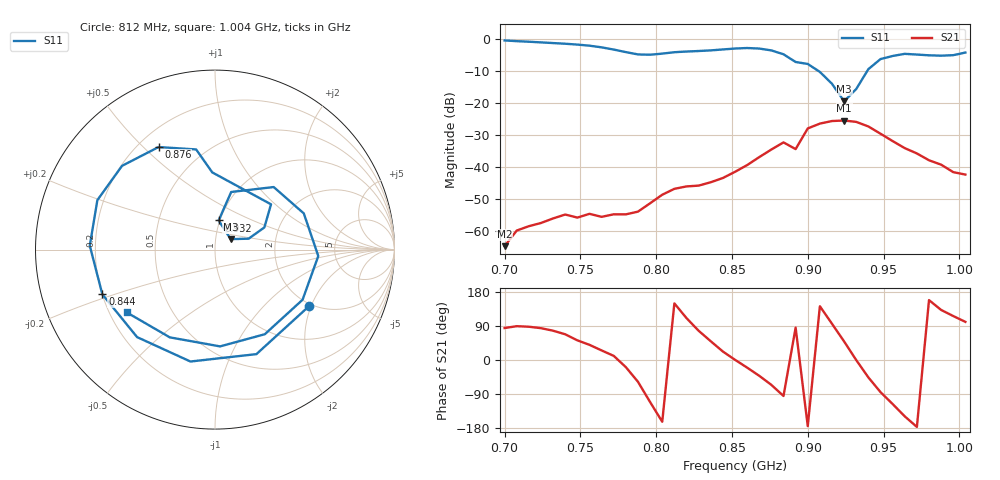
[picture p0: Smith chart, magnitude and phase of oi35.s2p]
# Hz S RI R 50
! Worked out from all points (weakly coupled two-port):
!   39 points, 700 MHz to 1.004 GHz, reference 50 ohm
!   highest |S21| = -25.55 dB at 924 MHz (marker M1); lowest = -64.7 dB at 700 MHz (marker M2)
!   lowest |S11| = -19.6 dB at 924 MHz (marker M3), VSWR 1.23, Z = 59.1 + j6.97 ohm
!   |S11| at or under -10 dB: 906.7 MHz to 939.4 MHz (32.73 MHz wide, 3.55 % of centre)
!   S12 and S22 are empty: the file has one direction only
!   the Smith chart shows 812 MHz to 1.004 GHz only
!   S11 on the Smith chart (normalised r, x): 812 MHz: 1.92, -1.94; 844 MHz: 0.20, -0.18; 876 MHz: 0.28, +0.56; 932 MHz: 0.99, +0.33; 1.004 GHz: 0.27, -0.30
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7e8  0.7665 0.5308  5.73e-05 0.000579  0 0  0 0
7.24e8  0.8312 -0.2554  0.00014 0.00133  0 0  0 0
7.4e8  0.442 -0.7013  0.000683 0.00168  0 0  0 0
7.56e8  -0.199 -0.7468  0.00142 0.00119  0 0  0 0
7.72e8  -0.6475 -0.1808  0.00179 0.000345  0 0  0 0
7.8e8  -0.5667 0.2358  0.00172 -0.00059  0 0  0 0
7.88e8  -0.2087 0.5247  0.00108 -0.0017  0 0  0 0
7.96e8  0.2703 0.4892  -0.000975 -0.00253  0 0  0 0
8.04e8  0.5672 0.1265  -0.00352 -0.00108  0 0  0 0
8.12e8  0.5244 -0.3147  -0.00392 0.00232  0 0  0 0
8.28e8  -0.1368 -0.6235  0.00113 0.00498  0 0  0 0
8.44e8  -0.6276 -0.2495  0.00621 0.00255  0 0  0 0
8.52e8  -0.6976 0.0217  0.00837 8.2e-05  0 0  0 0
8.76e8  -0.3147 0.5713  0.00769 -0.017  0 0  0 0
8.92e8  -0.0153 0.4302  0.00152 0.0189  0 0  0 0
9e8  0.3122 0.2523  -0.0395 -0.00381  0 0  0 0
9.08e8  0.2751 0.1236  -0.0371 0.0292  0 0  0 0
9.24e8  0.0874 0.0583  0.0347 0.0397  0 0  0 0
9.32e8  0.0204 0.1624  0.0502 -0.000244  0 0  0 0
9.56e8  0.4948 0.2015  -0.0111 -0.0226  0 0  0 0
9.8e8  0.2776 -0.4715  -0.0118 0.00474  0 0  0 0
1.004e9  -0.4929 -0.3493  -0.0014 0.00746  0 0  0 0
